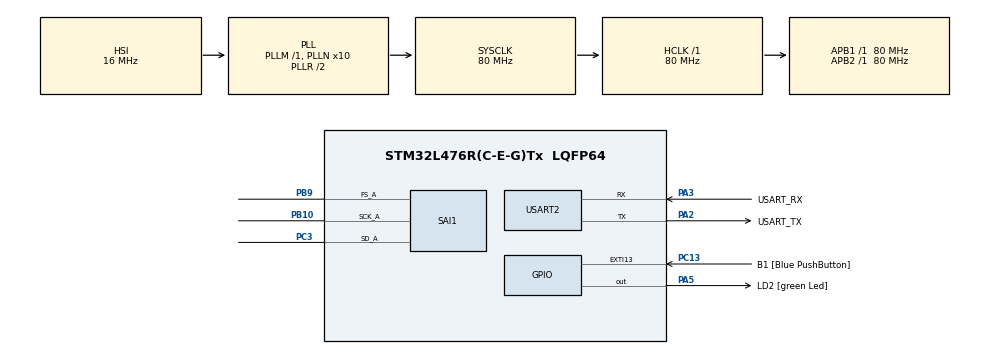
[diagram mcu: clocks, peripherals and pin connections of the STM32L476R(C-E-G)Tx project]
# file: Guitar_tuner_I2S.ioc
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Dma.Request0=SAI1_A
Dma.SAI1_A.0.Direction=DMA_PERIPH_TO_MEMORY
Dma.SAI1_A.0.Instance=DMA2_Channel1
Dma.SAI1_A.0.MemDataAlignment=DMA_MDATAALIGN_HALFWORD
Dma.SAI1_A.0.MemInc=DMA_MINC_ENABLE
Dma.SAI1_A.0.Mode=DMA_CIRCULAR
Dma.SAI1_A.0.PeriphDataAlignment=DMA_PDATAALIGN_HALFWORD
Dma.SAI1_A.0.PeriphInc=DMA_PINC_DISABLE
Dma.SAI1_A.0.Priority=DMA_PRIORITY_LOW
Mcu.Family=STM32L4
Mcu.Name=STM32L476R(C-E-G)Tx
Mcu.Package=LQFP64
NVIC.DMA2_Channel1_IRQn=true\:0\:0\:false\:false\:true\:false\:true\:true
NVIC.PriorityGroup=NVIC_PRIORITYGROUP_4
PA13\ (JTMS-SWDIO).GPIO_Label=TMS
PA13\ (JTMS-SWDIO).Mode=Serial_Wire
PA13\ (JTMS-SWDIO).Signal=SYS_JTMS-SWDIO
PA14\ (JTCK-SWCLK).GPIO_Label=TCK
PA14\ (JTCK-SWCLK).Mode=Serial_Wire
PA14\ (JTCK-SWCLK).Signal=SYS_JTCK-SWCLK
PA2.GPIO_Label=USART_TX
PA2.GPIO_Mode=GPIO_MODE_AF_PP
PA2.GPIO_PuPd=GPIO_NOPULL
PA2.GPIO_Speed=GPIO_SPEED_FREQ_VERY_HIGH
PA2.Mode=Asynchronous
PA2.Signal=USART2_TX
PA3.GPIO_Label=USART_RX
PA3.GPIO_Mode=GPIO_MODE_AF_PP
PA3.GPIO_PuPd=GPIO_NOPULL
PA3.GPIO_Speed=GPIO_SPEED_FREQ_VERY_HIGH
PA3.Mode=Asynchronous
PA3.Signal=USART2_RX
PA5.GPIO_Label=LD2 [green Led]
PA5.GPIO_ModeDefaultOutputPP=GPIO_MODE_OUTPUT_PP
PA5.GPIO_PuPd=GPIO_NOPULL
PA5.GPIO_Speed=GPIO_SPEED_FREQ_LOW
PA5.Signal=GPIO_Output
PB10.Mode=SAI_A_Master
PB10.Signal=SAI1_SCK_A
PB3\ (JTDO-TRACESWO).GPIO_Label=SWO
PB3\ (JTDO-TRACESWO).Signal=SYS_JTDO-SWO
PB9.Mode=SAI_A_Master
PB9.Signal=SAI1_FS_A
PC13.GPIO_Label=B1 [Blue PushButton]
PC13.GPIO_ModeDefaultEXTI=GPIO_MODE_IT_FALLING
PC13.GPIO_PuPd=GPIO_NOPULL
PC13.Signal=GPXTI13
PC14-OSC32_IN\ (PC14).Mode=LSE-External-Oscillator
PC14-OSC32_IN\ (PC14).Signal=RCC_OSC32_IN
PC15-OSC32_OUT\ (PC15).Mode=LSE-External-Oscillator
PC15-OSC32_OUT\ (PC15).Signal=RCC_OSC32_OUT
PC3.Mode=SAI_A_Master
PC3.Signal=SAI1_SD_A
PH0-OSC_IN\ (PH0).Signal=RCC_OSC_IN
PH1-OSC_OUT\ (PH1).Signal=RCC_OSC_OUT
ProjectManager.HeapSize=0x200
ProjectManager.StackSize=0x400
ProjectManager.TargetToolchain=Makefile
RCC.ADCFreq_Value=64000000
RCC.AHBFreq_Value=80000000
RCC.APB1Freq_Value=80000000
RCC.APB1TimFreq_Value=80000000
RCC.APB2Freq_Value=80000000
RCC.APB2TimFreq_Value=80000000
RCC.CortexFreq_Value=80000000
RCC.HCLKFreq_Value=80000000
RCC.HSE_VALUE=8000000
RCC.HSI_VALUE=16000000
RCC.MSI_VALUE=4000000
RCC.PLLN=10
RCC.PLLSAI2N=21
RCC.PLLSourceVirtual=RCC_PLLSOURCE_HSI
RCC.PREFETCH_ENABLE=1
RCC.SAI1CLockSelection=RCC_SAI1CLKSOURCE_PLLSAI2
RCC.SYSCLKFreq_VALUE=80000000
RCC.SYSCLKSource=RCC_SYSCLKSOURCE_PLLCLK
RCC.USBFreq_Value=64000000
RCC.VCOOutputFreq_Value=160000000
SAI1.AudioFrequency-SAI_A_Master=SAI_AUDIO_FREQUENCY_16K
SAI1.AudioMode-SAI_A_Master=SAI_MODEMASTER_RX
SAI1.BasicDataSize-SAI_A_Master=SAI_PROTOCOL_DATASIZE_24BIT
SAI1.BasicProtocol-SAI_A_Master=SAI_I2S_MSBJUSTIFIED
SAI1.BasicSlotNumber-SAI_A_Master=2
SAI1.ErrorAudioFreq-SAI_A_Master=-2.34 %
SAI1.InitProtocol-SAI_A_Master=Enable
SAI1.Instance-SAI_A_Master=SAI$Index_Block_A
SAI1.MClockEnable-SAI_A_Master=SAI_MASTERCLOCK_DISABLE
SAI1.MonoStereoMode-SAI_A_Master=SAI_STEREOMODE
SAI1.NoDivider-SAI_A_Master=SAI_MASTERDIVIDER_ENABLE
SAI1.RealAudioFreq-SAI_A_Master=15.625 KHz
SAI1.VirtualMode-SAI_A_Master=VM_MASTER
SAI1.VirtualProtocol-SAI_A_BASIC=VM_BASIC_PROTOCOL
USART2.VirtualMode-Asynchronous=VM_ASYNC
VP_SAI1_VP_$IpInstance_SAIA_SAI_BASIC.Mode=SAI_A_BASIC
board=NUCLEO-L476RG

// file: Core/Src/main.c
/* USER CODE BEGIN Header */
/**
  ******************************************************************************
  * @file           : main.c
  * @brief          : Main program body
  ******************************************************************************
  * @attention
  *
  * Copyright (c) 2023 STMicroelectronics.
  * All rights reserved.
  *
  * This software is licensed under terms that can be found in the LICENSE file
  * in the root directory of this software component.
  * If no LICENSE file comes with this software, it is provided AS-IS.
  *
  ******************************************************************************
  */
/* USER CODE END Header */
#include "main.h"

/* USER CODE BEGIN Includes */
#include "arm_math.h"
#include "arm_const_structs.h"
#include <string.h>
#include <stdio.h>

#define ADC_BUF 4096 * 2        // multiplied by 2 due to MEMs sampling
#define ADC_SAMPLES 4096   // ADC Samples for FFT bin resolution
#define FFT_SIZE 4096       // FFT size
/* USER CODE END Includes */

SAI_HandleTypeDef hsai_BlockA1;
DMA_HandleTypeDef hdma_sai1_a;

UART_HandleTypeDef huart2;

/* USER CODE BEGIN PV */
uint8_t buf[20];
int16_t data_i2s[ADC_BUF];
uint16_t data;

volatile int16_t sample_i2s;
uint8_t hsai_flag;
/* USER CODE END PV */

void SystemClock_Config(void);
static void MX_GPIO_Init(void);
static void MX_DMA_Init(void);
static void MX_SAI1_Init(void);
static void MX_USART2_UART_Init(void);
/* USER CODE BEGIN PFP */
void do_fft(uint8_t hsai_flag);
/* USER CODE END PFP */

int main(void)
{

  /* MCU Configuration--------------------------------------------------------*/

  /* Reset of all peripherals, Initializes the Flash interface and the Systick. */
  HAL_Init();

  /* Configure the system clock */
  SystemClock_Config();

  /* Initialize all configured peripherals */
  MX_GPIO_Init();
  MX_DMA_Init();
  MX_SAI1_Init();
  MX_USART2_UART_Init();
  /* USER CODE BEGIN 2 */
  HAL_SAI_Receive_DMA(&hsai_BlockA1, (uint8_t *)data_i2s, sizeof(data_i2s) / 2);
  /* USER CODE END 2 */

  /* Infinite loop */
  while (1)
  {

    /* USER CODE BEGIN 3 */
    do_fft(hsai_flag);
    // sprintf((char*)buf,
    //               "%u \r\n",
    //               (data_i2s[1]));
    //   HAL_UART_Transmit(&huart2,buf,strlen((char*)buf),10);// Sending in normal mode
  }
  /* USER CODE END 3 */
}

void SystemClock_Config(void)
{
  RCC_OscInitTypeDef RCC_OscInitStruct = {0};
  RCC_ClkInitTypeDef RCC_ClkInitStruct = {0};

  /** Configure the main internal regulator output voltage
  */
  if (HAL_PWREx_ControlVoltageScaling(PWR_REGULATOR_VOLTAGE_SCALE1) != HAL_OK)
  {
    Error_Handler();
  }

  /** Initializes the RCC Oscillators according to the specified parameters
  * in the RCC_OscInitTypeDef structure.
  */
  RCC_OscInitStruct.OscillatorType = RCC_OSCILLATORTYPE_HSI;
  RCC_OscInitStruct.HSIState = RCC_HSI_ON;
  RCC_OscInitStruct.HSICalibrationValue = RCC_HSICALIBRATION_DEFAULT;
  RCC_OscInitStruct.PLL.PLLState = RCC_PLL_ON;
  RCC_OscInitStruct.PLL.PLLSource = RCC_PLLSOURCE_HSI;
  RCC_OscInitStruct.PLL.PLLM = 1;
  RCC_OscInitStruct.PLL.PLLN = 10;
  RCC_OscInitStruct.PLL.PLLP = RCC_PLLP_DIV7;
  RCC_OscInitStruct.PLL.PLLQ = RCC_PLLQ_DIV2;
  RCC_OscInitStruct.PLL.PLLR = RCC_PLLR_DIV2;
  if (HAL_RCC_OscConfig(&RCC_OscInitStruct) != HAL_OK)
  {
    Error_Handler();
  }

  /** Initializes the CPU, AHB and APB buses clocks
  */
  RCC_ClkInitStruct.ClockType = RCC_CLOCKTYPE_HCLK|RCC_CLOCKTYPE_SYSCLK
                              |RCC_CLOCKTYPE_PCLK1|RCC_CLOCKTYPE_PCLK2;
  RCC_ClkInitStruct.SYSCLKSource = RCC_SYSCLKSOURCE_PLLCLK;
  RCC_ClkInitStruct.AHBCLKDivider = RCC_SYSCLK_DIV1;
  RCC_ClkInitStruct.APB1CLKDivider = RCC_HCLK_DIV1;
  RCC_ClkInitStruct.APB2CLKDivider = RCC_HCLK_DIV1;

  if (HAL_RCC_ClockConfig(&RCC_ClkInitStruct, FLASH_LATENCY_4) != HAL_OK)
  {
    Error_Handler();
  }
}

static void MX_SAI1_Init(void)
{

  hsai_BlockA1.Instance = SAI1_Block_A;
  hsai_BlockA1.Init.AudioMode = SAI_MODEMASTER_RX;
  hsai_BlockA1.Init.Synchro = SAI_ASYNCHRONOUS;
  hsai_BlockA1.Init.OutputDrive = SAI_OUTPUTDRIVE_DISABLE;
  hsai_BlockA1.Init.NoDivider = SAI_MASTERDIVIDER_ENABLE;
  hsai_BlockA1.Init.FIFOThreshold = SAI_FIFOTHRESHOLD_EMPTY;
  hsai_BlockA1.Init.AudioFrequency = SAI_AUDIO_FREQUENCY_16K;
  hsai_BlockA1.Init.SynchroExt = SAI_SYNCEXT_DISABLE;
  hsai_BlockA1.Init.MonoStereoMode = SAI_STEREOMODE;
  hsai_BlockA1.Init.CompandingMode = SAI_NOCOMPANDING;
  if (HAL_SAI_InitProtocol(&hsai_BlockA1, SAI_I2S_MSBJUSTIFIED, SAI_PROTOCOL_DATASIZE_24BIT, 2) != HAL_OK)
  {
    Error_Handler();
  }

}

static void MX_USART2_UART_Init(void)
{

  huart2.Instance = USART2;
  huart2.Init.BaudRate = 115200;
  huart2.Init.WordLength = UART_WORDLENGTH_8B;
  huart2.Init.StopBits = UART_STOPBITS_1;
  huart2.Init.Parity = UART_PARITY_NONE;
  huart2.Init.Mode = UART_MODE_TX_RX;
  huart2.Init.HwFlowCtl = UART_HWCONTROL_NONE;
  huart2.Init.OverSampling = UART_OVERSAMPLING_16;
  huart2.Init.OneBitSampling = UART_ONE_BIT_SAMPLE_DISABLE;
  huart2.AdvancedInit.AdvFeatureInit = UART_ADVFEATURE_NO_INIT;
  if (HAL_UART_Init(&huart2) != HAL_OK)
  {
    Error_Handler();
  }

}

static void MX_DMA_Init(void)
{

  /* DMA controller clock enable */
  __HAL_RCC_DMA2_CLK_ENABLE();

  /* DMA interrupt init */
  /* DMA2_Channel1_IRQn interrupt configuration */
  HAL_NVIC_SetPriority(DMA2_Channel1_IRQn, 0, 0);
  HAL_NVIC_EnableIRQ(DMA2_Channel1_IRQn);

}

static void MX_GPIO_Init(void)
{
  GPIO_InitTypeDef GPIO_InitStruct = {0};

  /* GPIO Ports Clock Enable */
  __HAL_RCC_GPIOC_CLK_ENABLE();
  __HAL_RCC_GPIOH_CLK_ENABLE();
  __HAL_RCC_GPIOA_CLK_ENABLE();
  __HAL_RCC_GPIOB_CLK_ENABLE();

  /*Configure GPIO pin Output Level */
  HAL_GPIO_WritePin(LD2_GPIO_Port, LD2_Pin, GPIO_PIN_RESET);

  /*Configure GPIO pin : B1_Pin */
  GPIO_InitStruct.Pin = B1_Pin;
  GPIO_InitStruct.Mode = GPIO_MODE_IT_FALLING;
  GPIO_InitStruct.Pull = GPIO_NOPULL;
  HAL_GPIO_Init(B1_GPIO_Port, &GPIO_InitStruct);

  /*Configure GPIO pin : LD2_Pin */
  GPIO_InitStruct.Pin = LD2_Pin;
  GPIO_InitStruct.Mode = GPIO_MODE_OUTPUT_PP;
  GPIO_InitStruct.Pull = GPIO_NOPULL;
  GPIO_InitStruct.Speed = GPIO_SPEED_FREQ_LOW;
  HAL_GPIO_Init(LD2_GPIO_Port, &GPIO_InitStruct);

}

/* USER CODE BEGIN 4 */
void HAL_SAI_RxCpltCallback(SAI_HandleTypeDef *hsai) {
  hsai_flag = 1;
}

void do_fft(uint8_t hadc_flag) {
  if (hadc_flag) {

      arm_rfft_fast_instance_f32 fft_instance;

      float32_t fft_adc_buf[ADC_BUF / 2] = {0};
      float32_t fft_output[FFT_SIZE * 2] = {0};
      float32_t fft_magnitude[FFT_SIZE] = {0};

      volatile float32_t calculated_frequency = 0;
      volatile float32_t max_value;
      volatile uint32_t max_index;

      int i, j;
      for (i = 0, j = 1; i < ADC_BUF; i++, j+=2) {
          fft_adc_buf[i] = (float32_t)data_i2s[j];
      }

      arm_rfft_fast_init_f32(&fft_instance, ADC_BUF / 2);
      arm_rfft_fast_f32(&fft_instance, fft_adc_buf, fft_output, 0);

      arm_cmplx_mag_f32(fft_output, fft_magnitude, FFT_SIZE);
      fft_magnitude[0] = 0;
      fft_magnitude[1] = 0;
      arm_max_f32(fft_magnitude, FFT_SIZE / 2, &max_value, &max_index);

      uint32_t temp_max_index = 0;
      float32_t temp_max_value = 0;
      max_index = 0;
      for (int v = 20; v < 22; v++) {
          temp_max_index = 0;
        if (fft_magnitude[v] > temp_max_value) {
          temp_max_value = fft_magnitude[v];
          temp_max_index = v;
        }
      }
      calculated_frequency = temp_max_index * (16000.0 / (FFT_SIZE * 1.0));
          //if (calculated_frequency >= 80) {
          sprintf((char*)buf,
            "%u Hz\r\n",
            ((unsigned int)calculated_frequency));
          HAL_UART_Transmit(&huart2,buf,strlen((char*)buf),10);// Sending in normal mode

      // calculated_frequency = max_index * (16000.0 / (FFT_SIZE * 1.0));

      //if (calculated_frequency >= 80) {
        sprintf((char*)buf,
                  "%u Hz\r\n",
                  ((unsigned int)calculated_frequency));
      HAL_UART_Transmit(&huart2,buf,strlen((char*)buf),10);// Sending in normal mode

      hsai_flag = 0;
    }
}
/* USER CODE END 4 */

void Error_Handler(void)
{
  __disable_irq();
  while (1)
  {
  }
}
